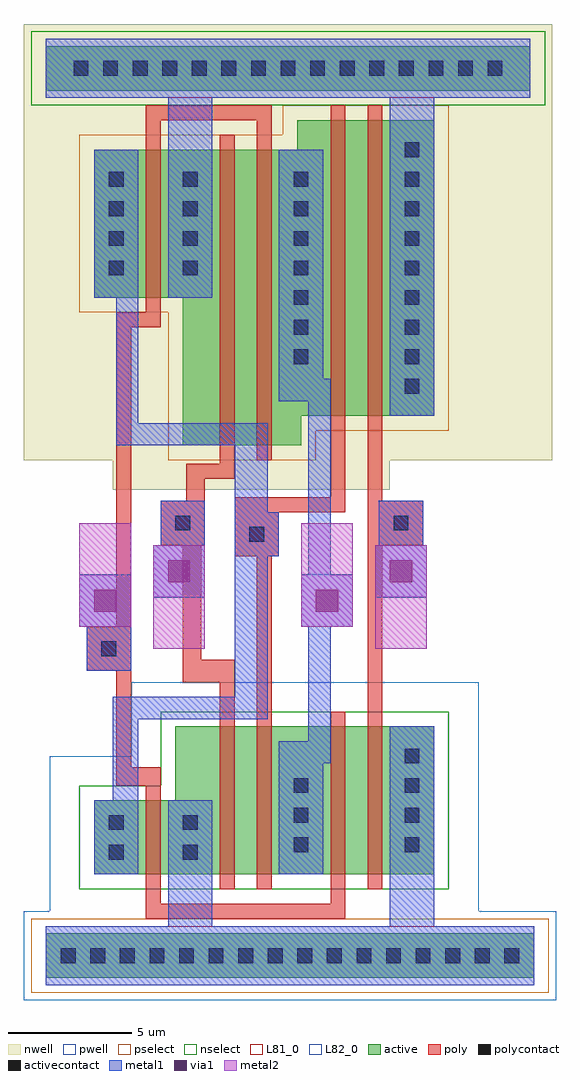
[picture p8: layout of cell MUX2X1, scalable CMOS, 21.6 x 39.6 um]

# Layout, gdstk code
import gdstk
lib = gdstk.Library(unit=1e-6, precision=1e-09)
def R(c, l, rs):  # rectangles x0, y0, x1, y1
    for r in rs: c.add(gdstk.rectangle(r[:2], r[2:], *l))
def A(c, l, x, y, w, h, nx, ny, dx, dy):  # array of equal rectangles
    R(c, l, [(x+i*dx, y+j*dy, x+i*dx+w, y+j*dy+h) for i in range(nx) for j in range(ny)])
pwell = (41, 0)
nwell = (42, 0)
active = (43, 0)
pselect = (44, 0)
nselect = (45, 0)
poly = (46, 0)
polycontact = (47, 0)
activecontact = (48, 0)
metal1 = (49, 0)
via1 = (50, 0)
metal2 = (51, 0)
L81_0 = (81, 0)
L82_0 = (82, 0)

mux2x1 = lib.new_cell('MUX2X1')
R(mux2x1, pwell, [(-1.8,-1.8,19.8,1.8), (-0.75,1.8,16.65,8.1), (2.55,8.1,16.65,11.1)])
R(mux2x1, nwell, [(1.8,18.9,13.05,20.1), (-1.8,20.1,19.65,37.8)])
R(mux2x1, active, [(-0.9,-0.9,18.9,0.9), (1.05,3.3,14.85,6.3), (4.35,6.3,14.85,9.3), (4.65,20.7,9.45,21.9), (4.65,21.9,14.85,26.7), (1.05,26.7,14.85,32.7), (9.3,32.7,14.85,33.9), (-0.9,35.1,18.75,36.9)])
R(mux2x1, pselect, [(-1.5,-1.5,19.5,1.5), (4.05,20.1,10.05,21.3), (4.05,21.3,15.45,26.1), (0.45,26.1,15.45,33.3), (8.7,33.3,15.45,34.5)])
R(mux2x1, nselect, [(0.45,2.7,15.45,6.9), (3.75,6.9,15.45,9.9), (-1.5,34.5,19.35,37.5)])
R(mux2x1, poly, [(3.15,1.5,11.25,2.1), (3.15,2.1,3.75,6.9), (10.65,2.1,11.25,9.9), (6.15,2.7,6.75,11.1), (7.65,2.7,8.25,16.2), (12.15,2.7,12.75,16.65), (1.95,6.9,3.75,7.65), (1.95,7.65,2.55,11.55), (4.65,11.1,6.75,12), (0.75,11.55,2.55,13.35), (4.65,12,5.4,16.65), (1.95,13.35,2.55,25.5), (6.75,16.2,8.55,18), (3.75,16.65,5.55,18.45), (12.15,16.65,14.4,18.45), (6.75,18,11.25,18.6), (4.8,18.45,5.55,19.35), (12.15,18.45,12.75,34.5), (10.65,18.6,11.25,34.5), (4.8,19.35,6.75,19.95), (6.15,19.95,6.75,33.3), (7.65,20.1,8.25,33.9), (1.95,25.5,3.75,26.1), (3.15,26.1,3.75,33.9), (3.15,33.9,8.25,34.5)])
R(mux2x1, polycontact, [(1.35,12.15,1.95,12.75), (7.35,16.8,7.95,17.4), (4.35,17.25,4.95,17.85), (13.2,17.25,13.8,17.85)])
A(mux2x1, activecontact, -0.3, -0.3, 0.6, 0.6, 16, 1, 1.2, 0)
A(mux2x1, activecontact, 9.15, 4.2, 0.6, 0.6, 1, 3, 0, 1.2)
A(mux2x1, activecontact, 13.65, 4.2, 0.6, 0.6, 1, 4, 0, 1.2)
A(mux2x1, activecontact, 13.65, 22.8, 0.6, 0.6, 1, 4, 0, 1.2)
A(mux2x1, activecontact, 9.15, 24, 0.6, 0.6, 1, 3, 0, 1.2)
A(mux2x1, activecontact, 1.65, 27.6, 0.6, 0.6, 1, 4, 0, 1.2)
A(mux2x1, activecontact, 4.65, 27.6, 0.6, 0.6, 3, 4, 4.5, 1.2)
A(mux2x1, activecontact, 0.22, 35.7, 0.6, 0.6, 15, 1, 1.2, 0)
R(mux2x1, activecontact, [(1.65,3.9,2.25,4.5), (4.65,3.9,5.25,4.5), (1.65,5.1,2.25,5.7), (4.65,5.1,5.25,5.7), (13.65,32.4,14.25,33)])
R(mux2x1, metal1, [(-0.9,-1.2,18.9,1.2), (4.05,1.2,5.85,6.3), (13.05,1.2,14.85,9.3), (1.05,3.3,2.85,6.3), (8.55,3.3,10.35,7.8), (1.8,6.3,2.85,9.6), (8.55,7.8,10.65,8.7), (9.75,8.7,10.65,13.35), (1.8,9.6,8.1,10.5), (6.75,10.5,8.1,16.2), (0.75,11.55,2.55,13.35), (0.45,13.35,2.55,15.45), (9.45,13.35,11.55,15.45), (3.45,14.55,5.55,16.65), (12.45,14.55,14.55,16.65), (9.75,15.45,10.65,22.5), (6.75,16.2,8.55,18), (3.75,16.65,5.55,18.45), (12.6,16.65,14.4,18.45), (6.75,18,8.1,20.7), (1.95,20.7,8.1,21.6), (1.95,21.6,2.85,26.7), (13.05,21.9,14.85,34.8), (8.55,22.5,10.65,23.4), (8.55,23.4,10.35,32.7), (1.05,26.7,2.85,32.7), (4.05,26.7,5.85,34.8), (-0.9,34.8,18.75,37.2)])
R(mux2x1, via1, [(1.05,13.95,1.95,14.85), (10.05,13.95,10.95,14.85), (4.05,15.15,4.95,16.05), (13.05,15.15,13.95,16.05)])
R(mux2x1, metal2, [(3.45,12.45,5.55,16.65), (12.45,12.45,14.55,16.65), (0.45,13.35,2.55,17.55), (9.45,13.35,11.55,17.55)])
R(mux2x1, L81_0, [(-0.9,-1.2,18.9,1.2), (-0.9,34.8,18.75,37.2)])
R(mux2x1, L82_0, [(3.45,12.45,5.55,14.55), (12.45,12.45,14.55,14.55), (0.45,15.45,2.55,17.55), (9.45,15.45,11.55,17.55)])

lib.write_gds('MUX2X1.gds')
